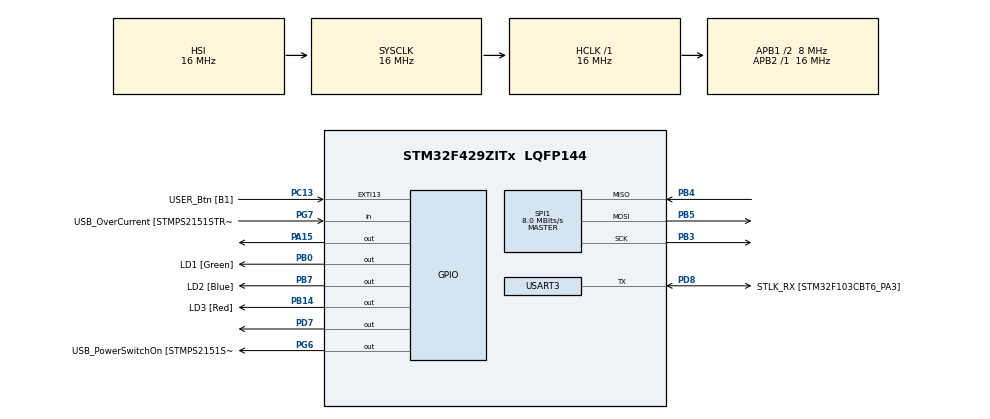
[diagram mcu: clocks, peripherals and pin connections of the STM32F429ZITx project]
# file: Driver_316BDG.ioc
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Mcu.Family=STM32F4
Mcu.Name=STM32F429ZITx
Mcu.Package=LQFP144
NVIC.PriorityGroup=NVIC_PRIORITYGROUP_4
PA1.GPIO_Label=RMII_REF_CLK [LAN8742A-CZ-TR_REFCLK0]
PA1.Signal=ETH_REF_CLK
PA10.GPIO_Label=USB_ID
PA10.Signal=USB_OTG_FS_ID
PA11.GPIO_Label=USB_DM
PA11.Signal=USB_OTG_FS_DM
PA12.GPIO_Label=USB_DP
PA12.Signal=USB_OTG_FS_DP
PA13.GPIO_Label=TMS
PA13.Signal=SYS_JTMS-SWDIO
PA14.GPIO_Label=TCK
PA14.Signal=SYS_JTCK-SWCLK
PA15.Signal=GPIO_Output
PA2.GPIO_Label=RMII_MDIO [LAN8742A-CZ-TR_MDIO]
PA2.Signal=ETH_MDIO
PA7.GPIO_Label=RMII_CRS_DV [LAN8742A-CZ-TR_CRS_DV]
PA7.Signal=ETH_CRS_DV
PA8.GPIO_Label=USB_SOF [TP1]
PA8.Signal=USB_OTG_FS_SOF
PA9.GPIO_Label=USB_VBUS
PA9.Signal=USB_OTG_FS_VBUS
PB0.GPIO_Label=LD1 [Green]
PB0.Signal=GPIO_Output
PB13.GPIO_Label=RMII_TXD1 [LAN8742A-CZ-TR_TXD1]
PB13.Signal=ETH_TXD1
PB14.GPIO_Label=LD3 [Red]
PB14.Signal=GPIO_Output
PB3.Mode=Full_Duplex_Master
PB3.Signal=SPI1_SCK
PB4.Mode=Full_Duplex_Master
PB4.Signal=SPI1_MISO
PB5.Mode=Full_Duplex_Master
PB5.Signal=SPI1_MOSI
PB7.GPIO_Label=LD2 [Blue]
PB7.Signal=GPIO_Output
PC1.GPIO_Label=RMII_MDC [LAN8742A-CZ-TR_MDC]
PC1.Signal=ETH_MDC
PC13.GPIO_Label=USER_Btn [B1]
PC13.Signal=GPXTI13
PC14/OSC32_IN.Signal=RCC_OSC32_IN
PC15/OSC32_OUT.Signal=RCC_OSC32_OUT
PC4.GPIO_Label=RMII_RXD0 [LAN8742A-CZ-TR_RXD0]
PC4.Signal=ETH_RXD0
PC5.GPIO_Label=RMII_RXD1 [LAN8742A-CZ-TR_RXD1]
PC5.Signal=ETH_RXD1
PD7.Signal=GPIO_Output
PD8.GPIO_Label=STLK_RX [STM32F103CBT6_PA3]
PD8.Mode=Half_duplex(single_wire_mode)
PD8.Signal=USART3_TX
PD9.GPIO_Label=STLK_TX [STM32F103CBT6_PA2]
PD9.Signal=USART3_RX
PG11.GPIO_Label=RMII_TX_EN [LAN8742A-CZ-TR_TXEN]
PG11.Signal=ETH_TX_EN
PG13.GPIO_Label=RMII_TXD0 [LAN8742A-CZ-TR_TXD0]
PG13.Signal=ETH_TXD0
PG6.GPIO_Label=USB_PowerSwitchOn [STMPS2151STR_EN]
PG6.Signal=GPIO_Output
PG7.GPIO_Label=USB_OverCurrent [STMPS2151STR_FAULT]
PG7.Signal=GPIO_Input
PH0/OSC_IN.GPIO_Label=MCO [STM32F103CBT6_PA8]
PH0/OSC_IN.Signal=RCC_OSC_IN
PH1/OSC_OUT.Signal=RCC_OSC_OUT
ProjectManager.HeapSize=0x200
ProjectManager.StackSize=0x400
ProjectManager.TargetToolchain=STM32CubeIDE
RCC.48MHZClocksFreq_Value=48000000
RCC.AHBFreq_Value=16000000
RCC.APB1CLKDivider=RCC_HCLK_DIV2
RCC.APB1Freq_Value=8000000
RCC.APB1TimFreq_Value=16000000
RCC.APB2Freq_Value=16000000
RCC.APB2TimFreq_Value=16000000
RCC.CortexFreq_Value=16000000
RCC.HCLKFreq_Value=16000000
RCC.HSE_VALUE=8000000
RCC.HSI_VALUE=16000000
RCC.LSE_VALUE=32768
RCC.PLLMUL=RCC_PLL_MUL9
RCC.PRESCALERUSB=RCC_USBCLKSOURCE_PLL_DIV1_5
RCC.SYSCLKFreq_VALUE=16000000
RCC.SYSCLKSourceVirtual=RCC_SYSCLKSOURCE_PLLCLK
RCC.USBFreq_Value=48000000
RCC.VCOOutputFreq_Value=192000000
SPI1.CalculateBaudRate=8.0 MBits/s
SPI1.Direction=SPI_DIRECTION_2LINES
SPI1.Mode=SPI_MODE_MASTER
SPI1.VirtualType=VM_MASTER
TIM1.Period=0xffff-1
TIM1.Prescaler=16
USART3.VirtualMode=VM_ASYNC
VP_TIM1_VS_ClockSourceINT.Mode=Internal
board=NUCLEO-F429ZI

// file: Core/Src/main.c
/**
 * @file main.c
 * @author Andrea García
 * @brief main.c file runs an application that makes use of the device driver that controls the MLX90316 sensor
 * @version 0.1
 * @date 2022-04-21
 *
 * @copyright Copyright (c) 2022
 *
 */
#include "main.h"
#include "mlx90316_NUCLEO_port.h"
#include "mlx90316.h"

/* USER CODE BEGIN Includes */
SPI_HandleTypeDef hspi1;
TIM_HandleTypeDef htim1;
/* USER CODE END Includes */

//

UART_HandleTypeDef huart3;

/* USER CODE BEGIN PV */
//const uint8_t START_READ = 0xAA;
//const uint8_t START_READ2 = 0xFF;

/* USER CODE END PV */

void SystemClock_Config(void);
static void MX_GPIO_Init(void);
static void MX_SPI1_Init(void);
static void MX_USART3_UART_Init(void);
static void MX_TIM1_Init(void);
void PrintString( const char *pcString );

/* USER CODE BEGIN 0 */
/**
 * @brief PrintString Impresión por puerto serial.
 *
 * @param pcString puntero a buffer char que contiene el string a imprimir.
 */
void PrintString( const char *pcString )
{
	  HAL_UART_Transmit(&huart3, (uint8_t *)pcString, (uint16_t) strlen((char *)pcString), 10);
}

/* USER CODE END 0 */

int main(void)
{
  /* USER CODE BEGIN 1 */
	char uart_buffer [50];
	float degrees;
	mlx90316_t mlx90316;

  /* USER CODE END 1 */

  /* MCU Configuration--------------------------------------------------------*/

  /* Reset of all peripherals, Initializes the Flash interface and the Systick. */
  HAL_Init();

  /* Configure the system clock */
  SystemClock_Config();

  /* Initialize all configured peripherals */
  MX_GPIO_Init();
  MX_SPI1_Init();
  MX_USART3_UART_Init();
  MX_TIM1_Init();
  HAL_TIM_Base_Start(&htim1);
  /* USER CODE BEGIN 2 */
  mlx90316.csMlx = Cs_Nucleo;
  mlx90316.delay_msMlx = Delay_ms_Nucleo;
  mlx90316.fTimingMlx = FrameTiming_Nucleo;
  mlx90316.wrspiMlx = WR_Spi_Nucleo;
  mlx90316.wspiMlx = W_Spi_Nucleo;

  Mlx90316_Init(mlx90316);
  Init_Handler(&hspi1, &htim1);

  /* USER CODE END 2 */

  /* Infinite loop */
  /* USER CODE BEGIN WHILE */

  PrintString( "START READING\r\n" );
  while (1)
  {
	  /* USER CODE END WHILE */

	  degrees = Mlx90316_GetAngle();
	  sprintf(uart_buffer,"Dato: %3.2f \r\n",degrees);
	  PrintString(uart_buffer);
	  HAL_Delay(1000);
  }
}

void SystemClock_Config(void)
{
  RCC_OscInitTypeDef RCC_OscInitStruct = {0};
  RCC_ClkInitTypeDef RCC_ClkInitStruct = {0};

  /** Configure the main internal regulator output voltage
  */
  __HAL_RCC_PWR_CLK_ENABLE();
  __HAL_PWR_VOLTAGESCALING_CONFIG(PWR_REGULATOR_VOLTAGE_SCALE3);

  /** Initializes the RCC Oscillators according to the specified parameters
  * in the RCC_OscInitTypeDef structure.
  */
  RCC_OscInitStruct.OscillatorType = RCC_OSCILLATORTYPE_HSI;
  RCC_OscInitStruct.HSIState = RCC_HSI_ON;
  RCC_OscInitStruct.HSICalibrationValue = RCC_HSICALIBRATION_DEFAULT;
  RCC_OscInitStruct.PLL.PLLState = RCC_PLL_NONE;
  if (HAL_RCC_OscConfig(&RCC_OscInitStruct) != HAL_OK)
  {
    Error_Handler();
  }

  /** Initializes the CPU, AHB and APB buses clocks
  */
  RCC_ClkInitStruct.ClockType = RCC_CLOCKTYPE_HCLK|RCC_CLOCKTYPE_SYSCLK
                              |RCC_CLOCKTYPE_PCLK1|RCC_CLOCKTYPE_PCLK2;
  RCC_ClkInitStruct.SYSCLKSource = RCC_SYSCLKSOURCE_HSI;
  RCC_ClkInitStruct.AHBCLKDivider = RCC_SYSCLK_DIV1;
  RCC_ClkInitStruct.APB1CLKDivider = RCC_HCLK_DIV2;
  RCC_ClkInitStruct.APB2CLKDivider = RCC_HCLK_DIV1;

  if (HAL_RCC_ClockConfig(&RCC_ClkInitStruct, FLASH_LATENCY_0) != HAL_OK)
  {
    Error_Handler();
  }
}

static void MX_SPI1_Init(void)
{

  /* SPI1 parameter configuration*/
  hspi1.Instance = SPI1;
  hspi1.Init.Mode = SPI_MODE_MASTER;
  hspi1.Init.Direction = SPI_DIRECTION_2LINES;
  hspi1.Init.DataSize = SPI_DATASIZE_8BIT;
  hspi1.Init.CLKPolarity = SPI_POLARITY_LOW;
  hspi1.Init.CLKPhase = SPI_PHASE_2EDGE;
  hspi1.Init.NSS = SPI_NSS_SOFT;
  hspi1.Init.BaudRatePrescaler = SPI_BAUDRATEPRESCALER_64;
  hspi1.Init.FirstBit = SPI_FIRSTBIT_MSB;
  hspi1.Init.TIMode = SPI_TIMODE_DISABLE;
  hspi1.Init.CRCCalculation = SPI_CRCCALCULATION_DISABLE;
  hspi1.Init.CRCPolynomial = 10;
  if (HAL_SPI_Init(&hspi1) != HAL_OK)
  {
    Error_Handler();
  }

}

static void MX_TIM1_Init(void)
{

  TIM_ClockConfigTypeDef sClockSourceConfig = {0};
  TIM_MasterConfigTypeDef sMasterConfig = {0};

  htim1.Instance = TIM1;
  htim1.Init.Prescaler = 90-1;
  htim1.Init.CounterMode = TIM_COUNTERMODE_UP;
  htim1.Init.Period = 0xffff-1;
  htim1.Init.ClockDivision = TIM_CLOCKDIVISION_DIV1;
  htim1.Init.RepetitionCounter = 0;
  htim1.Init.AutoReloadPreload = TIM_AUTORELOAD_PRELOAD_DISABLE;
  if (HAL_TIM_Base_Init(&htim1) != HAL_OK)
  {
    Error_Handler();
  }
  sClockSourceConfig.ClockSource = TIM_CLOCKSOURCE_INTERNAL;
  if (HAL_TIM_ConfigClockSource(&htim1, &sClockSourceConfig) != HAL_OK)
  {
    Error_Handler();
  }
  sMasterConfig.MasterOutputTrigger = TIM_TRGO_RESET;
  sMasterConfig.MasterSlaveMode = TIM_MASTERSLAVEMODE_DISABLE;
  if (HAL_TIMEx_MasterConfigSynchronization(&htim1, &sMasterConfig) != HAL_OK)
  {
    Error_Handler();
  }

}

static void MX_USART3_UART_Init(void)
{

  huart3.Instance = USART3;
  huart3.Init.BaudRate = 115200;
  huart3.Init.WordLength = UART_WORDLENGTH_8B;
  huart3.Init.StopBits = UART_STOPBITS_1;
  huart3.Init.Parity = UART_PARITY_NONE;
  huart3.Init.Mode = UART_MODE_TX_RX;
  huart3.Init.HwFlowCtl = UART_HWCONTROL_NONE;
  huart3.Init.OverSampling = UART_OVERSAMPLING_16;
  if (HAL_HalfDuplex_Init(&huart3) != HAL_OK)
  {
    Error_Handler();
  }

}

static void MX_GPIO_Init(void)
{
  GPIO_InitTypeDef GPIO_InitStruct = {0};

  /* GPIO Ports Clock Enable */
  __HAL_RCC_GPIOC_CLK_ENABLE();
  __HAL_RCC_GPIOH_CLK_ENABLE();
  __HAL_RCC_GPIOA_CLK_ENABLE();
  __HAL_RCC_GPIOB_CLK_ENABLE();
  __HAL_RCC_GPIOD_CLK_ENABLE();
  __HAL_RCC_GPIOG_CLK_ENABLE();

  /*Configure GPIO pin Output Level */
  HAL_GPIO_WritePin(GPIOB, LD1_Pin|LD3_Pin|LD2_Pin, GPIO_PIN_RESET);

  /*Configure GPIO pin Output Level */
  HAL_GPIO_WritePin(USB_PowerSwitchOn_GPIO_Port, USB_PowerSwitchOn_Pin, GPIO_PIN_RESET);

  /*Configure GPIO pin Output Level */
  HAL_GPIO_WritePin(GPIOA, GPIO_PIN_15, GPIO_PIN_RESET);

  /*Configure GPIO pin : USER_Btn_Pin */
  GPIO_InitStruct.Pin = USER_Btn_Pin;
  GPIO_InitStruct.Mode = GPIO_MODE_IT_RISING;
  GPIO_InitStruct.Pull = GPIO_NOPULL;
  HAL_GPIO_Init(USER_Btn_GPIO_Port, &GPIO_InitStruct);

  /*Configure GPIO pins : RMII_MDC_Pin RMII_RXD0_Pin RMII_RXD1_Pin */
  GPIO_InitStruct.Pin = RMII_MDC_Pin|RMII_RXD0_Pin|RMII_RXD1_Pin;
  GPIO_InitStruct.Mode = GPIO_MODE_AF_PP;
  GPIO_InitStruct.Pull = GPIO_NOPULL;
  GPIO_InitStruct.Speed = GPIO_SPEED_FREQ_VERY_HIGH;
  GPIO_InitStruct.Alternate = GPIO_AF11_ETH;
  HAL_GPIO_Init(GPIOC, &GPIO_InitStruct);

  /*Configure GPIO pins : RMII_REF_CLK_Pin RMII_MDIO_Pin RMII_CRS_DV_Pin */
  GPIO_InitStruct.Pin = RMII_REF_CLK_Pin|RMII_MDIO_Pin|RMII_CRS_DV_Pin;
  GPIO_InitStruct.Mode = GPIO_MODE_AF_PP;
  GPIO_InitStruct.Pull = GPIO_NOPULL;
  GPIO_InitStruct.Speed = GPIO_SPEED_FREQ_VERY_HIGH;
  GPIO_InitStruct.Alternate = GPIO_AF11_ETH;
  HAL_GPIO_Init(GPIOA, &GPIO_InitStruct);

  /*Configure GPIO pins : LD1_Pin LD3_Pin LD2_Pin */
  GPIO_InitStruct.Pin = LD1_Pin|LD3_Pin|LD2_Pin;
  GPIO_InitStruct.Mode = GPIO_MODE_OUTPUT_PP;
  GPIO_InitStruct.Pull = GPIO_NOPULL;
  GPIO_InitStruct.Speed = GPIO_SPEED_FREQ_LOW;
  HAL_GPIO_Init(GPIOB, &GPIO_InitStruct);

  /*Configure GPIO pin : RMII_TXD1_Pin */
  GPIO_InitStruct.Pin = RMII_TXD1_Pin;
  GPIO_InitStruct.Mode = GPIO_MODE_AF_PP;
  GPIO_InitStruct.Pull = GPIO_NOPULL;
  GPIO_InitStruct.Speed = GPIO_SPEED_FREQ_VERY_HIGH;
  GPIO_InitStruct.Alternate = GPIO_AF11_ETH;
  HAL_GPIO_Init(RMII_TXD1_GPIO_Port, &GPIO_InitStruct);

  /*Configure GPIO pin : USB_PowerSwitchOn_Pin */
  GPIO_InitStruct.Pin = USB_PowerSwitchOn_Pin;
  GPIO_InitStruct.Mode = GPIO_MODE_OUTPUT_PP;
  GPIO_InitStruct.Pull = GPIO_NOPULL;
  GPIO_InitStruct.Speed = GPIO_SPEED_FREQ_LOW;
  HAL_GPIO_Init(USB_PowerSwitchOn_GPIO_Port, &GPIO_InitStruct);

  /*Configure GPIO pin : USB_OverCurrent_Pin */
  GPIO_InitStruct.Pin = USB_OverCurrent_Pin;
  GPIO_InitStruct.Mode = GPIO_MODE_INPUT;
  GPIO_InitStruct.Pull = GPIO_NOPULL;
  HAL_GPIO_Init(USB_OverCurrent_GPIO_Port, &GPIO_InitStruct);

  /*Configure GPIO pins : USB_SOF_Pin USB_ID_Pin USB_DM_Pin USB_DP_Pin */
  GPIO_InitStruct.Pin = USB_SOF_Pin|USB_ID_Pin|USB_DM_Pin|USB_DP_Pin;
  GPIO_InitStruct.Mode = GPIO_MODE_AF_PP;
  GPIO_InitStruct.Pull = GPIO_NOPULL;
  GPIO_InitStruct.Speed = GPIO_SPEED_FREQ_VERY_HIGH;
  GPIO_InitStruct.Alternate = GPIO_AF10_OTG_FS;
  HAL_GPIO_Init(GPIOA, &GPIO_InitStruct);

  /*Configure GPIO pin : USB_VBUS_Pin */
  GPIO_InitStruct.Pin = USB_VBUS_Pin;
  GPIO_InitStruct.Mode = GPIO_MODE_INPUT;
  GPIO_InitStruct.Pull = GPIO_NOPULL;
  HAL_GPIO_Init(USB_VBUS_GPIO_Port, &GPIO_InitStruct);

  /*Configure GPIO pin : PA15 */
  GPIO_InitStruct.Pin = GPIO_PIN_15;
  GPIO_InitStruct.Mode = GPIO_MODE_OUTPUT_PP;
  GPIO_InitStruct.Pull = GPIO_NOPULL;
  GPIO_InitStruct.Speed = GPIO_SPEED_FREQ_LOW;
  HAL_GPIO_Init(GPIOA, &GPIO_InitStruct);

  /*Configure GPIO pins : RMII_TX_EN_Pin RMII_TXD0_Pin */
  GPIO_InitStruct.Pin = RMII_TX_EN_Pin|RMII_TXD0_Pin;
  GPIO_InitStruct.Mode = GPIO_MODE_AF_PP;
  GPIO_InitStruct.Pull = GPIO_NOPULL;
  GPIO_InitStruct.Speed = GPIO_SPEED_FREQ_VERY_HIGH;
  GPIO_InitStruct.Alternate = GPIO_AF11_ETH;
  HAL_GPIO_Init(GPIOG, &GPIO_InitStruct);

}

void Error_Handler(void)
{
  __disable_irq();
  while (1)
  {
  }
}
